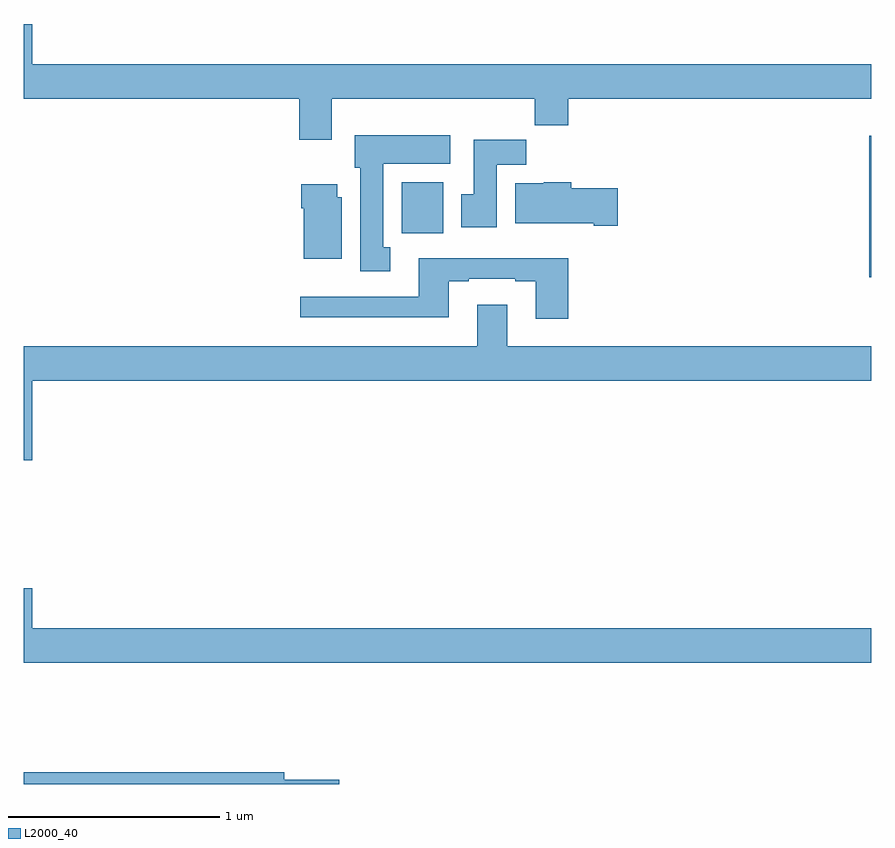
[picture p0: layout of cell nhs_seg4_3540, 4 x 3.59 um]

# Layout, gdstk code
import gdstk
lib = gdstk.Library(unit=1e-6, precision=1e-09)
def R(c, l, rs):  # rectangles x0, y0, x1, y1
    for r in rs: c.add(gdstk.rectangle(r[:2], r[2:], *l))
def P(c, l, *ps):  # polygons
    for p in ps: c.add(gdstk.Polygon(p, *l))
L2000_40 = (2000, 40)

nhs_seg4_3540 = lib.new_cell('nhs_seg4_3540')
R(nhs_seg4_3540, L2000_40, [(300.992,813.294,301,813.961), (298.784,813.5,298.981,813.742)])
P(nhs_seg4_3540, L2000_40, [(298.453,814.136),(299.413,814.136),(299.413,814.012),(299.57,814.012),(299.57,814.136),(301,814.136),(301,814.3),(297.04,814.3),(297.04,814.489),(297,814.489),(297,814.136),(298.301,814.136),(298.301,813.942),(298.453,813.942)],
  [(298.729,813.434),(298.696,813.434),(298.696,813.83),(299.014,813.83),(299.014,813.964),(298.562,813.964),(298.562,813.81),(298.589,813.81),(298.589,813.321),(298.729,813.321)],
  [(299.233,813.824),(299.372,813.824),(299.372,813.943),(299.123,813.943),(299.123,813.684),(299.066,813.684),(299.066,813.528),(299.233,813.528)],
  [(299.803,813.714),(299.585,813.714),(299.585,813.742),(299.454,813.742),(299.454,813.736),(299.321,813.736),(299.321,813.548),(299.69,813.548),(299.69,813.536),(299.803,813.536)],
  [(298.501,813.672),(298.48,813.672),(298.48,813.733),(298.31,813.733),(298.31,813.62),(298.322,813.62),(298.322,813.38),(298.501,813.38)],
  [(299.57,813.382),(298.865,813.382),(298.865,813.201),(298.305,813.201),(298.305,813.104),(299.005,813.104),(299.005,813.273),(299.101,813.273),(299.101,813.285),(299.321,813.285),(299.321,813.273),(299.417,813.273),(299.417,813.096),(299.57,813.096)],
  [(297.04,812.804),(301,812.804),(301,812.968),(299.281,812.968),(299.281,813.163),(299.141,813.163),(299.141,812.968),(297,812.968),(297,812.43),(297.04,812.43)],
  [(301,811.636),(297.04,811.636),(297.04,811.825),(297,811.825),(297,811.472),(301,811.472)],
  [(298.489,810.92),(298.228,810.92),(298.228,810.956),(297,810.956),(297,810.9),(298.489,810.9)])

lib.write_gds('nhs_seg4_3540.gds')
